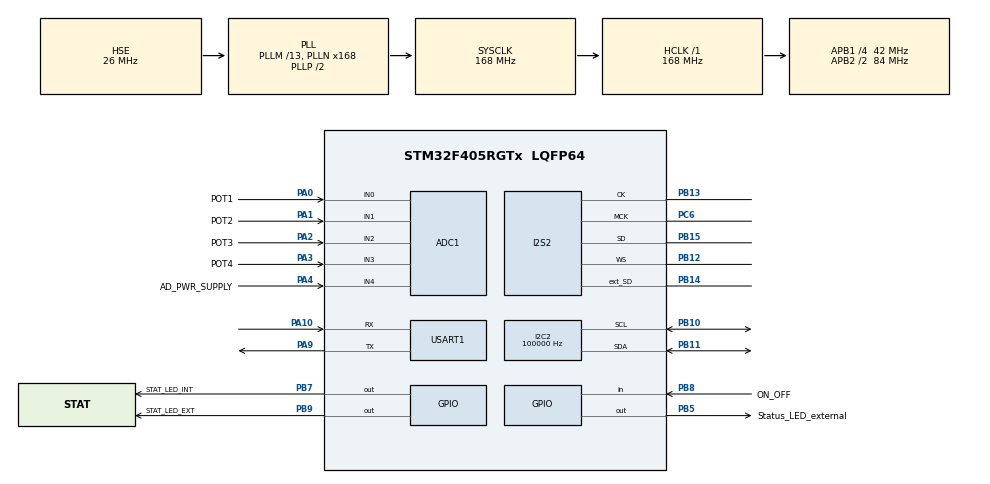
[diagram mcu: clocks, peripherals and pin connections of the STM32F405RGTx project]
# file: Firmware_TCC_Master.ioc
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ADC1.Channel-1\#ChannelRegularConversion=ADC_CHANNEL_1
ADC1.NbrOfConversionFlag=1
ADC1.Rank-1\#ChannelRegularConversion=1
ADC1.SamplingTime-1\#ChannelRegularConversion=ADC_SAMPLETIME_3CYCLES
ADC1.master=1
Dma.I2S2_EXT_RX.0.Direction=DMA_PERIPH_TO_MEMORY
Dma.I2S2_EXT_RX.0.FIFOMode=DMA_FIFOMODE_DISABLE
Dma.I2S2_EXT_RX.0.Instance=DMA1_Stream3
Dma.I2S2_EXT_RX.0.MemDataAlignment=DMA_MDATAALIGN_HALFWORD
Dma.I2S2_EXT_RX.0.MemInc=DMA_MINC_ENABLE
Dma.I2S2_EXT_RX.0.Mode=DMA_CIRCULAR
Dma.I2S2_EXT_RX.0.PeriphDataAlignment=DMA_PDATAALIGN_HALFWORD
Dma.I2S2_EXT_RX.0.PeriphInc=DMA_PINC_DISABLE
Dma.I2S2_EXT_RX.0.Priority=DMA_PRIORITY_LOW
Dma.Request0=I2S2_EXT_RX
Dma.Request1=SPI2_TX
Dma.SPI2_TX.1.Direction=DMA_MEMORY_TO_PERIPH
Dma.SPI2_TX.1.FIFOMode=DMA_FIFOMODE_DISABLE
Dma.SPI2_TX.1.Instance=DMA1_Stream4
Dma.SPI2_TX.1.MemDataAlignment=DMA_MDATAALIGN_HALFWORD
Dma.SPI2_TX.1.MemInc=DMA_MINC_ENABLE
Dma.SPI2_TX.1.Mode=DMA_CIRCULAR
Dma.SPI2_TX.1.PeriphDataAlignment=DMA_PDATAALIGN_HALFWORD
Dma.SPI2_TX.1.PeriphInc=DMA_PINC_DISABLE
Dma.SPI2_TX.1.Priority=DMA_PRIORITY_LOW
I2C2.ClockSpeed=100000
I2S2.AudioFreq=I2S_AUDIOFREQ_48K
I2S2.DataFormat=I2S_DATAFORMAT_16B
I2S2.ErrorAudioFreq=1.72 %
I2S2.FullDuplexMode=I2S_FULLDUPLEXMODE_ENABLE
I2S2.Instance=SPI$Index
I2S2.Mode=I2S_MODE_MASTER_TX
I2S2.RealAudioFreq=48.828 KHz
I2S2.VirtualMode=I2S_MODE_MASTER
Mcu.Family=STM32F4
Mcu.Name=STM32F405RGTx
Mcu.Package=LQFP64
NVIC.DMA1_Stream3_IRQn=true\:0\:0\:false\:false\:true\:false\:true\:true
NVIC.DMA1_Stream4_IRQn=true\:0\:0\:false\:false\:true\:false\:true\:true
NVIC.PriorityGroup=NVIC_PRIORITYGROUP_4
NVIC.TIM8_TRG_COM_TIM14_IRQn=true\:0\:0\:false\:false\:true\:true\:true\:true
PA0-WKUP.GPIO_Label=POT1
PA0-WKUP.Signal=ADCx_IN0
PA1.GPIO_Label=POT2
PA1.Signal=ADCx_IN1
PA10.Mode=Asynchronous
PA10.Signal=USART1_RX
PA13.Mode=Serial_Wire
PA13.Signal=SYS_JTMS-SWDIO
PA14.Mode=Serial_Wire
PA14.Signal=SYS_JTCK-SWCLK
PA2.GPIO_Label=POT3
PA2.Signal=ADCx_IN2
PA3.GPIO_Label=POT4
PA3.Signal=ADCx_IN3
PA4.GPIO_Label=AD_PWR_SUPPLY
PA4.Signal=ADCx_IN4
PA9.Mode=Asynchronous
PA9.Signal=USART1_TX
PB10.Mode=I2C
PB10.Signal=I2C2_SCL
PB11.Mode=I2C
PB11.Signal=I2C2_SDA
PB12.Mode=Full_Duplex_Master
PB12.Signal=I2S2_WS
PB13.Mode=Full_Duplex_Master
PB13.Signal=I2S2_CK
PB14.Mode=Full_Duplex_Master
PB14.Signal=I2S2_ext_SD
PB15.Mode=Full_Duplex_Master
PB15.Signal=I2S2_SD
PB5.GPIO_Label=Status_LED_external
PB5.Signal=GPIO_Output
PB7.GPIO_Label=STAT_LED_INT
PB7.Signal=GPIO_Output
PB8.GPIO_Label=ON_OFF
PB8.Signal=GPIO_Input
PB9.GPIO_Label=STAT_LED_EXT
PB9.Signal=GPIO_Output
PC6.Mode=Master_Clock_Activated
PC6.Signal=I2S2_MCK
PH0-OSC_IN.Mode=HSE-External-Oscillator
PH0-OSC_IN.Signal=RCC_OSC_IN
PH1-OSC_OUT.Mode=HSE-External-Oscillator
PH1-OSC_OUT.Signal=RCC_OSC_OUT
ProjectManager.HeapSize=0x200
ProjectManager.StackSize=0x400
ProjectManager.TargetToolchain=STM32CubeIDE
RCC.48MHZClocksFreq_Value=84000000
RCC.AHBFreq_Value=168000000
RCC.APB1CLKDivider=RCC_HCLK_DIV4
RCC.APB1Freq_Value=42000000
RCC.APB1TimFreq_Value=84000000
RCC.APB2CLKDivider=RCC_HCLK_DIV2
RCC.APB2Freq_Value=84000000
RCC.APB2TimFreq_Value=168000000
RCC.CortexFreq_Value=168000000
RCC.HCLKFreq_Value=168000000
RCC.HSE_VALUE=26000000
RCC.HSI_VALUE=16000000
RCC.LSE_VALUE=32768
RCC.PLLI2SN=50
RCC.PLLM=13
RCC.PLLN=168
RCC.PLLSourceVirtual=RCC_PLLSOURCE_HSE
RCC.SYSCLKFreq_VALUE=168000000
RCC.SYSCLKSource=RCC_SYSCLKSOURCE_PLLCLK
RCC.VCOOutputFreq_Value=336000000
SH.ADCx_IN0.0=ADC1_IN0,IN0
SH.ADCx_IN1.0=ADC1_IN1,IN1
SH.ADCx_IN2.0=ADC1_IN2,IN2
SH.ADCx_IN3.0=ADC1_IN3,IN3
SH.ADCx_IN4.0=ADC1_IN4,IN4
TIM14.Period=8400
TIM14.Prescaler=1
USART1.VirtualMode=VM_ASYNC
VP_TIM14_VS_ClockSourceINT.Mode=Enable_Timer
board=custom

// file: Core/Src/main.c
/* USER CODE BEGIN Header */
/**
  ******************************************************************************
  * @file           : main.c
  * @brief          : Main program body
  ******************************************************************************
  * @attention
  *
  * Copyright (c) 2023 STMicroelectronics.
  * All rights reserved.
  *
  * This software is licensed under terms that can be found in the LICENSE file
  * in the root directory of this software component.
  * If no LICENSE file comes with this software, it is provided AS-IS.
  *
  ******************************************************************************
  */
/* USER CODE END Header */
#include "main.h"

/* USER CODE BEGIN Includes */
#include "includes.h"
/* USER CODE END Includes */

ADC_HandleTypeDef hadc1;

I2C_HandleTypeDef hi2c2;

I2S_HandleTypeDef hi2s2;
DMA_HandleTypeDef hdma_i2s2_ext_rx;
DMA_HandleTypeDef hdma_spi2_tx;

TIM_HandleTypeDef htim14;

UART_HandleTypeDef huart1;

/* USER CODE BEGIN PV */
int16_t adcData[dBUFFER_SIZE];
int16_t dacData[dBUFFER_SIZE];

static volatile int16_t *inBufferPtr;
static volatile int16_t *outBufferPtr = &dacData[0];

uint8_t flagDataReady = 0;
/* USER CODE END PV */

void SystemClock_Config(void);
static void MX_GPIO_Init(void);
static void MX_DMA_Init(void);
static void MX_I2C2_Init(void);
static void MX_I2S2_Init(void);
static void MX_ADC1_Init(void);
static void MX_USART1_UART_Init(void);
static void MX_TIM14_Init(void);

/* USER CODE BEGIN 0 */
void HAL_I2SEx_TxRxHalfCpltCallback(I2S_HandleTypeDef *hi2s)
{
  inBufferPtr = &adcData[0];
  outBufferPtr = &dacData[dBUFFER_SIZE / 2];
  flagDataReady = 1;
}

void HAL_I2SEx_TxRxCpltCallback(I2S_HandleTypeDef *hi2s)
{
  inBufferPtr = &adcData[dBUFFER_SIZE / 2];
  outBufferPtr = &dacData[0];
  flagDataReady = 1;
}

/*
#define SAMPLE_RATE 48000  // Sample rate in Hz
#define FREQUENCY 1440.0   // Frequency of the sine wave in Hz (A440)

// Function to generate a sine wave
void generateSineWave(float* buffer, int numSamples) {
    for (int i = 0; i < numSamples; i++) {
        double t = (double)i / SAMPLE_RATE;
        double amplitude = 0.5;  // Adjust the amplitude as needed (0.5 for a range of -0.5 to 0.5)
        buffer[i] = amplitude * sin(2 * M_PI * FREQUENCY * t);
    }
}*/

void processData()
{
  static float leftIn, leftOut, leftIn_late;
  static float rightIn, rightOut;
  static uint32_t time = 0;

  for (uint16_t n = 0 ; n < (dBUFFER_SIZE / 2 - 1) ; n += 2)
  {

    //================ LEFT CHANNEL ================
    // Get ADC input and convert it to float
	 if(n > 0)
	 {
		 leftIn_late = INT16_TO_FLOAT * inBufferPtr[n-2];
	 }

    leftIn = INT16_TO_FLOAT * inBufferPtr[n];
    /*if (leftIn > 1.0f)
    {
      leftIn -= 2.0f;
    }
*/
    // Compute new sample
    leftOut = leftIn;
    //leftOut = 0.012*n;
    //leftOut = 1000000000 * sin(2 * M_PI * FREQUENCY * time);
    //leftOut = leftIn + 0.2*leftOut;

    // Convert back to signed int  and set DAC output
    outBufferPtr[n] = (int16_t)(FLOAT_TO_INT16 * leftOut);

    //================ RIGHT CHANNEL ================
    // Get ADC input and convert it to float
    rightIn = INT16_TO_FLOAT * inBufferPtr[n+1];
    /*if (rightIn > 1.0f)
    {
      rightIn -= 2.0f;
    }*/

    // Compute new sample
    rightOut = rightIn/2;
    //rightOut = 1000000000 * sin(2 * M_PI * FREQUENCY * time);

    // Convert back to signed int  and set DAC output
    outBufferPtr[n+1] = (int16_t)(FLOAT_TO_INT16 * rightOut);

  }
  flagDataReady = 0;
}

/* USER CODE END 0 */

int main(void)
{
  /* USER CODE BEGIN 1 */
  uint16_t blinkTimer = 250; //1ms steps
  uint16_t blinkCount = 0;
  /* USER CODE END 1 */

  /* MCU Configuration--------------------------------------------------------*/

  /* Reset of all peripherals, Initializes the Flash interface and the Systick. */
  HAL_Init();

  /* Configure the system clock */
  SystemClock_Config();

  /* Initialize all configured peripherals */
  MX_GPIO_Init();
  MX_DMA_Init();
  MX_I2C2_Init();
  MX_I2S2_Init();
  MX_ADC1_Init();
  MX_USART1_UART_Init();
  MX_TIM14_Init();
  /* USER CODE BEGIN 2 */
  //codec_init(&hi2c2);
  //codec_init_teste(&hi2c2);
  HAL_TIM_Base_Start_IT(&htim14);

  HAL_StatusTypeDef status = HAL_I2SEx_TransmitReceive_DMA(&hi2s2, (uint16_t *)dacData, (uint16_t *)adcData, dBUFFER_SIZE);
  /* USER CODE END 2 */

  /* Infinite loop */
  /* USER CODE BEGIN WHILE */
  while (1)
  {
    if (flagDataReady)
    {
		processData();
		blinkTimer = 50;
    }

    if (GL_timer_1ms)
    {
      GL_timer_1ms = 0;

      if(blinkCount++ >= blinkTimer)
      {
        blinkCount = 0;
        HAL_GPIO_TogglePin(STAT_LED_INT_GPIO_Port, STAT_LED_INT_Pin);
      }

      //codec_init(&hi2c2);
    }

    /* USER CODE END WHILE */

  }
}

void SystemClock_Config(void)
{
  RCC_OscInitTypeDef RCC_OscInitStruct = {0};
  RCC_ClkInitTypeDef RCC_ClkInitStruct = {0};

  /** Configure the main internal regulator output voltage
  */
  __HAL_RCC_PWR_CLK_ENABLE();
  __HAL_PWR_VOLTAGESCALING_CONFIG(PWR_REGULATOR_VOLTAGE_SCALE1);

  /** Initializes the RCC Oscillators according to the specified parameters
  * in the RCC_OscInitTypeDef structure.
  */
  RCC_OscInitStruct.OscillatorType = RCC_OSCILLATORTYPE_HSE;
  RCC_OscInitStruct.HSEState = RCC_HSE_ON;
  RCC_OscInitStruct.PLL.PLLState = RCC_PLL_ON;
  RCC_OscInitStruct.PLL.PLLSource = RCC_PLLSOURCE_HSE;
  RCC_OscInitStruct.PLL.PLLM = 13;
  RCC_OscInitStruct.PLL.PLLN = 168;
  RCC_OscInitStruct.PLL.PLLP = RCC_PLLP_DIV2;
  RCC_OscInitStruct.PLL.PLLQ = 4;
  if (HAL_RCC_OscConfig(&RCC_OscInitStruct) != HAL_OK)
  {
    Error_Handler();
  }

  /** Initializes the CPU, AHB and APB buses clocks
  */
  RCC_ClkInitStruct.ClockType = RCC_CLOCKTYPE_HCLK|RCC_CLOCKTYPE_SYSCLK
                              |RCC_CLOCKTYPE_PCLK1|RCC_CLOCKTYPE_PCLK2;
  RCC_ClkInitStruct.SYSCLKSource = RCC_SYSCLKSOURCE_PLLCLK;
  RCC_ClkInitStruct.AHBCLKDivider = RCC_SYSCLK_DIV1;
  RCC_ClkInitStruct.APB1CLKDivider = RCC_HCLK_DIV4;
  RCC_ClkInitStruct.APB2CLKDivider = RCC_HCLK_DIV2;

  if (HAL_RCC_ClockConfig(&RCC_ClkInitStruct, FLASH_LATENCY_5) != HAL_OK)
  {
    Error_Handler();
  }
}

static void MX_ADC1_Init(void)
{

  ADC_ChannelConfTypeDef sConfig = {0};

  /** Configure the global features of the ADC (Clock, Resolution, Data Alignment and number of conversion)
  */
  hadc1.Instance = ADC1;
  hadc1.Init.ClockPrescaler = ADC_CLOCK_SYNC_PCLK_DIV4;
  hadc1.Init.Resolution = ADC_RESOLUTION_12B;
  hadc1.Init.ScanConvMode = DISABLE;
  hadc1.Init.ContinuousConvMode = DISABLE;
  hadc1.Init.DiscontinuousConvMode = DISABLE;
  hadc1.Init.ExternalTrigConvEdge = ADC_EXTERNALTRIGCONVEDGE_NONE;
  hadc1.Init.ExternalTrigConv = ADC_SOFTWARE_START;
  hadc1.Init.DataAlign = ADC_DATAALIGN_RIGHT;
  hadc1.Init.NbrOfConversion = 1;
  hadc1.Init.DMAContinuousRequests = DISABLE;
  hadc1.Init.EOCSelection = ADC_EOC_SINGLE_CONV;
  if (HAL_ADC_Init(&hadc1) != HAL_OK)
  {
    Error_Handler();
  }

  /** Configure for the selected ADC regular channel its corresponding rank in the sequencer and its sample time.
  */
  sConfig.Channel = ADC_CHANNEL_1;
  sConfig.Rank = 1;
  sConfig.SamplingTime = ADC_SAMPLETIME_3CYCLES;
  if (HAL_ADC_ConfigChannel(&hadc1, &sConfig) != HAL_OK)
  {
    Error_Handler();
  }

}

static void MX_I2C2_Init(void)
{

  hi2c2.Instance = I2C2;
  hi2c2.Init.ClockSpeed = 100000;
  hi2c2.Init.DutyCycle = I2C_DUTYCYCLE_2;
  hi2c2.Init.OwnAddress1 = 0;
  hi2c2.Init.AddressingMode = I2C_ADDRESSINGMODE_7BIT;
  hi2c2.Init.DualAddressMode = I2C_DUALADDRESS_DISABLE;
  hi2c2.Init.OwnAddress2 = 0;
  hi2c2.Init.GeneralCallMode = I2C_GENERALCALL_DISABLE;
  hi2c2.Init.NoStretchMode = I2C_NOSTRETCH_DISABLE;
  if (HAL_I2C_Init(&hi2c2) != HAL_OK)
  {
    Error_Handler();
  }

}

static void MX_I2S2_Init(void)
{

  hi2s2.Instance = SPI2;
  hi2s2.Init.Mode = I2S_MODE_MASTER_TX;
  hi2s2.Init.Standard = I2S_STANDARD_PHILIPS;
  hi2s2.Init.DataFormat = I2S_DATAFORMAT_16B;
  hi2s2.Init.MCLKOutput = I2S_MCLKOUTPUT_ENABLE;
  hi2s2.Init.AudioFreq = I2S_AUDIOFREQ_48K;
  hi2s2.Init.CPOL = I2S_CPOL_LOW;
  hi2s2.Init.ClockSource = I2S_CLOCK_PLL;
  hi2s2.Init.FullDuplexMode = I2S_FULLDUPLEXMODE_ENABLE;
  if (HAL_I2S_Init(&hi2s2) != HAL_OK)
  {
    Error_Handler();
  }

}

static void MX_TIM14_Init(void)
{

  htim14.Instance = TIM14;
  htim14.Init.Prescaler = 1;
  htim14.Init.CounterMode = TIM_COUNTERMODE_UP;
  htim14.Init.Period = 8400;
  htim14.Init.ClockDivision = TIM_CLOCKDIVISION_DIV1;
  htim14.Init.AutoReloadPreload = TIM_AUTORELOAD_PRELOAD_DISABLE;
  if (HAL_TIM_Base_Init(&htim14) != HAL_OK)
  {
    Error_Handler();
  }

}

static void MX_USART1_UART_Init(void)
{

  huart1.Instance = USART1;
  huart1.Init.BaudRate = 115200;
  huart1.Init.WordLength = UART_WORDLENGTH_8B;
  huart1.Init.StopBits = UART_STOPBITS_1;
  huart1.Init.Parity = UART_PARITY_NONE;
  huart1.Init.Mode = UART_MODE_TX_RX;
  huart1.Init.HwFlowCtl = UART_HWCONTROL_NONE;
  huart1.Init.OverSampling = UART_OVERSAMPLING_16;
  if (HAL_UART_Init(&huart1) != HAL_OK)
  {
    Error_Handler();
  }

}

static void MX_DMA_Init(void)
{

  /* DMA controller clock enable */
  __HAL_RCC_DMA1_CLK_ENABLE();

  /* DMA interrupt init */
  /* DMA1_Stream3_IRQn interrupt configuration */
  HAL_NVIC_SetPriority(DMA1_Stream3_IRQn, 0, 0);
  HAL_NVIC_EnableIRQ(DMA1_Stream3_IRQn);
  /* DMA1_Stream4_IRQn interrupt configuration */
  HAL_NVIC_SetPriority(DMA1_Stream4_IRQn, 0, 0);
  HAL_NVIC_EnableIRQ(DMA1_Stream4_IRQn);

}

static void MX_GPIO_Init(void)
{
  GPIO_InitTypeDef GPIO_InitStruct = {0};

  /* GPIO Ports Clock Enable */
  __HAL_RCC_GPIOH_CLK_ENABLE();
  __HAL_RCC_GPIOA_CLK_ENABLE();
  __HAL_RCC_GPIOB_CLK_ENABLE();
  __HAL_RCC_GPIOC_CLK_ENABLE();

  /*Configure GPIO pin Output Level */
  HAL_GPIO_WritePin(GPIOB, Status_LED_external_Pin|STAT_LED_INT_Pin|STAT_LED_EXT_Pin, GPIO_PIN_RESET);

  /*Configure GPIO pins : Status_LED_external_Pin STAT_LED_INT_Pin STAT_LED_EXT_Pin */
  GPIO_InitStruct.Pin = Status_LED_external_Pin|STAT_LED_INT_Pin|STAT_LED_EXT_Pin;
  GPIO_InitStruct.Mode = GPIO_MODE_OUTPUT_PP;
  GPIO_InitStruct.Pull = GPIO_NOPULL;
  GPIO_InitStruct.Speed = GPIO_SPEED_FREQ_LOW;
  HAL_GPIO_Init(GPIOB, &GPIO_InitStruct);

  /*Configure GPIO pin : ON_OFF_Pin */
  GPIO_InitStruct.Pin = ON_OFF_Pin;
  GPIO_InitStruct.Mode = GPIO_MODE_INPUT;
  GPIO_InitStruct.Pull = GPIO_NOPULL;
  HAL_GPIO_Init(ON_OFF_GPIO_Port, &GPIO_InitStruct);

}

/* USER CODE BEGIN 4 */

void HAL_TIM_PeriodElapsedCallback(TIM_HandleTypeDef *htim)
{
  // int GL_timer_100us = 0;
  // int GL_timer_1ms = 0;
  // int GL_timer_10ms = 0;
  // int GL_timer_100ms = 0;
  // int GL_timer_1s = 0;
  static int count_100us = 0;
  static int count_1ms = 0;
  static int count_10ms = 0;
  static int count_100ms = 0;
  //static int count_1s = 0;

  if (htim->Instance == TIM14) // 100us
  {

    GL_timer_100us = 1;
    count_100us++;

    if(count_100us >= 10)
    {
      count_100us = 0;
      GL_timer_1ms = 1;
      count_1ms++;
    }

    if(count_1ms >= 10)
    {
      count_1ms = 0;
      GL_timer_10ms = 1;
      count_10ms++;
    }

    if(count_10ms >= 10)
    {
      count_10ms = 0;
      GL_timer_100ms = 1;
      count_100ms++;
      //HAL_GPIO_TogglePin(STAT_LED_INT_GPIO_Port, STAT_LED_INT_Pin);
    }

    if(count_100ms >= 10)
    {
      count_100ms = 0;
      GL_timer_1s = 1;
      //count_1s++;
    }

  }
}

/* USER CODE END 4 */

void Error_Handler(void)
{
  __disable_irq();
  while (1)
  {
  }
}
